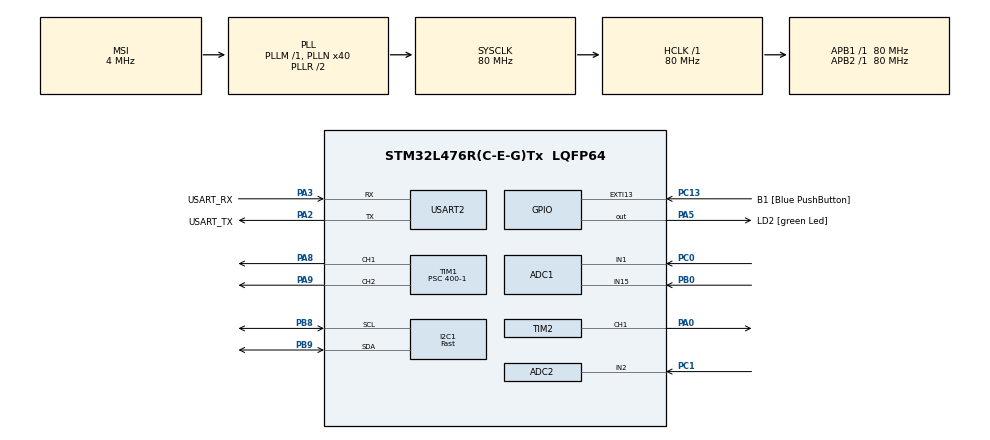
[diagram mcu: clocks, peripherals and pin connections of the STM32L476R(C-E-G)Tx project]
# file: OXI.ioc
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ADC1.Channel-4\#ChannelRegularConversion=ADC_CHANNEL_1
ADC1.Channel-5\#ChannelRegularConversion=ADC_CHANNEL_1
ADC1.Channel-6\#ChannelRegularConversion=ADC_CHANNEL_15
ADC1.ClockPrescaler=ADC_CLOCK_ASYNC_DIV16
ADC1.ContinuousConvMode=ENABLE
ADC1.DMAContinuousRequests=ENABLE
ADC1.EOCSelection=ADC_EOC_SEQ_CONV
ADC1.EnableAnalogWatchDog1=false
ADC1.NbrOfConversion=3
ADC1.NbrOfConversionFlag=1
ADC1.OffsetNumber-4\#ChannelRegularConversion=ADC_OFFSET_NONE
ADC1.OffsetNumber-5\#ChannelRegularConversion=ADC_OFFSET_NONE
ADC1.OffsetNumber-6\#ChannelRegularConversion=ADC_OFFSET_NONE
ADC1.Overrun=ADC_OVR_DATA_PRESERVED
ADC1.Rank-4\#ChannelRegularConversion=1
ADC1.Rank-5\#ChannelRegularConversion=2
ADC1.Rank-6\#ChannelRegularConversion=3
ADC1.SamplingTime-4\#ChannelRegularConversion=ADC_SAMPLETIME_640CYCLES_5
ADC1.SamplingTime-5\#ChannelRegularConversion=ADC_SAMPLETIME_2CYCLES_5
ADC1.SamplingTime-6\#ChannelRegularConversion=ADC_SAMPLETIME_2CYCLES_5
ADC1.master=1
ADC2.Channel-2\#ChannelRegularConversion=ADC_CHANNEL_2
ADC2.Channel-3\#ChannelRegularConversion=ADC_CHANNEL_2
ADC2.Channel-4\#ChannelRegularConversion=ADC_CHANNEL_2
ADC2.ClockPrescaler=ADC_CLOCK_ASYNC_DIV16
ADC2.ContinuousConvMode=ENABLE
ADC2.DMAContinuousRequests=ENABLE
ADC2.EOCSelection=ADC_EOC_SEQ_CONV
ADC2.NbrOfConversion=3
ADC2.NbrOfConversionFlag=1
ADC2.OffsetNumber-2\#ChannelRegularConversion=ADC_OFFSET_NONE
ADC2.OffsetNumber-3\#ChannelRegularConversion=ADC_OFFSET_NONE
ADC2.OffsetNumber-4\#ChannelRegularConversion=ADC_OFFSET_NONE
ADC2.Rank-2\#ChannelRegularConversion=1
ADC2.Rank-3\#ChannelRegularConversion=2
ADC2.Rank-4\#ChannelRegularConversion=3
ADC2.SamplingTime-2\#ChannelRegularConversion=ADC_SAMPLETIME_2CYCLES_5
ADC2.SamplingTime-3\#ChannelRegularConversion=ADC_SAMPLETIME_2CYCLES_5
ADC2.SamplingTime-4\#ChannelRegularConversion=ADC_SAMPLETIME_2CYCLES_5
Dma.ADC1.0.Direction=DMA_PERIPH_TO_MEMORY
Dma.ADC1.0.Instance=DMA1_Channel1
Dma.ADC1.0.MemDataAlignment=DMA_MDATAALIGN_HALFWORD
Dma.ADC1.0.MemInc=DMA_MINC_ENABLE
Dma.ADC1.0.Mode=DMA_CIRCULAR
Dma.ADC1.0.PeriphDataAlignment=DMA_PDATAALIGN_HALFWORD
Dma.ADC1.0.PeriphInc=DMA_PINC_DISABLE
Dma.ADC1.0.Priority=DMA_PRIORITY_LOW
Dma.ADC2.1.Direction=DMA_PERIPH_TO_MEMORY
Dma.ADC2.1.Instance=DMA1_Channel2
Dma.ADC2.1.MemDataAlignment=DMA_MDATAALIGN_HALFWORD
Dma.ADC2.1.MemInc=DMA_MINC_ENABLE
Dma.ADC2.1.Mode=DMA_CIRCULAR
Dma.ADC2.1.PeriphDataAlignment=DMA_PDATAALIGN_HALFWORD
Dma.ADC2.1.PeriphInc=DMA_PINC_DISABLE
Dma.ADC2.1.Priority=DMA_PRIORITY_LOW
Dma.Request0=ADC1
Dma.Request1=ADC2
I2C1.I2C_Speed_Mode=I2C_Fast
I2C1.Timing=0x00702991
Mcu.Family=STM32L4
Mcu.Name=STM32L476R(C-E-G)Tx
Mcu.Package=LQFP64
NVIC.DMA1_Channel1_IRQn=true\:0\:0\:false\:false\:true\:false\:true\:true
NVIC.DMA1_Channel2_IRQn=true\:0\:0\:false\:false\:true\:false\:true\:true
NVIC.PriorityGroup=NVIC_PRIORITYGROUP_4
PA0.Signal=S_TIM2_CH1
PA13\ (JTMS-SWDIO).GPIO_Label=TMS
PA13\ (JTMS-SWDIO).Mode=Serial_Wire
PA13\ (JTMS-SWDIO).Signal=SYS_JTMS-SWDIO
PA14\ (JTCK-SWCLK).GPIO_Label=TCK
PA14\ (JTCK-SWCLK).Mode=Serial_Wire
PA14\ (JTCK-SWCLK).Signal=SYS_JTCK-SWCLK
PA2.GPIO_Label=USART_TX
PA2.GPIO_Mode=GPIO_MODE_AF_PP
PA2.GPIO_PuPd=GPIO_NOPULL
PA2.GPIO_Speed=GPIO_SPEED_FREQ_VERY_HIGH
PA2.Mode=Asynchronous
PA2.Signal=USART2_TX
PA3.GPIO_Label=USART_RX
PA3.GPIO_Mode=GPIO_MODE_AF_PP
PA3.GPIO_PuPd=GPIO_NOPULL
PA3.GPIO_Speed=GPIO_SPEED_FREQ_VERY_HIGH
PA3.Mode=Asynchronous
PA3.Signal=USART2_RX
PA5.GPIO_Label=LD2 [green Led]
PA5.GPIO_ModeDefaultOutputPP=GPIO_MODE_OUTPUT_PP
PA5.GPIO_PuPd=GPIO_NOPULL
PA5.GPIO_Speed=GPIO_SPEED_FREQ_LOW
PA5.Signal=GPIO_Output
PA8.Signal=S_TIM1_CH1
PA9.Signal=S_TIM1_CH2
PB0.Signal=ADCx_IN15
PB3\ (JTDO-TRACESWO).GPIO_Label=SWO
PB3\ (JTDO-TRACESWO).Signal=SYS_JTDO-SWO
PB8.Mode=I2C
PB8.Signal=I2C1_SCL
PB9.Mode=I2C
PB9.Signal=I2C1_SDA
PC0.Signal=ADCx_IN1
PC1.Signal=ADCx_IN2
PC13.GPIO_Label=B1 [Blue PushButton]
PC13.GPIO_ModeDefaultEXTI=GPIO_MODE_IT_FALLING
PC13.GPIO_PuPd=GPIO_NOPULL
PC13.Signal=GPXTI13
PC14-OSC32_IN\ (PC14).Mode=LSE-External-Oscillator
PC14-OSC32_IN\ (PC14).Signal=RCC_OSC32_IN
PC15-OSC32_OUT\ (PC15).Mode=LSE-External-Oscillator
PC15-OSC32_OUT\ (PC15).Signal=RCC_OSC32_OUT
PH0-OSC_IN\ (PH0).Signal=RCC_OSC_IN
PH1-OSC_OUT\ (PH1).Signal=RCC_OSC_OUT
ProjectManager.HeapSize=0x200
ProjectManager.StackSize=0x400
ProjectManager.TargetToolchain=STM32CubeIDE
RCC.ADCCLockSelection=RCC_ADCCLKSOURCE_SYSCLK
RCC.ADCFreq_Value=80000000
RCC.AHBFreq_Value=80000000
RCC.APB1Freq_Value=80000000
RCC.APB1TimFreq_Value=80000000
RCC.APB2Freq_Value=80000000
RCC.APB2TimFreq_Value=80000000
RCC.CortexFreq_Value=80000000
RCC.HCLKFreq_Value=80000000
RCC.HSE_VALUE=8000000
RCC.HSI_VALUE=16000000
RCC.MSI_VALUE=4000000
RCC.PLLN=40
RCC.SYSCLKFreq_VALUE=80000000
RCC.SYSCLKSource=RCC_SYSCLKSOURCE_PLLCLK
RCC.USBFreq_Value=16000000
RCC.VCOOutputFreq_Value=160000000
SH.ADCx_IN1.0=ADC1_IN1,IN1-Single-Ended
SH.ADCx_IN15.0=ADC1_IN15,IN15-Single-Ended
SH.ADCx_IN2.0=ADC2_IN2,IN2-Single-Ended
SH.S_TIM1_CH1.0=TIM1_CH1,PWM Generation1 CH1
SH.S_TIM1_CH2.0=TIM1_CH2,PWM Generation2 CH2
SH.S_TIM2_CH1.0=TIM2_CH1,PWM Generation1 CH1
TIM1.Channel-Output\ Compare3\ No\ Output=TIM_CHANNEL_3
TIM1.Channel-PWM\ Generation1\ CH1=TIM_CHANNEL_1
TIM1.Channel-PWM\ Generation2\ CH2=TIM_CHANNEL_2
TIM1.OCMode_3=TIM_OCMODE_ACTIVE
TIM1.Period=20000-1
TIM1.Prescaler=400-1
TIM1.Pulse-Output\ Compare3\ No\ Output=10000 - 1
TIM1.Pulse-PWM\ Generation1\ CH1=10000 - 1
TIM1.Pulse-PWM\ Generation2\ CH2=4000 - 1
TIM1.TIM_MasterOutputTrigger=TIM_TRGO_OC3REF
TIM2.Channel-PWM\ Generation1\ CH1=TIM_CHANNEL_1
TIM2.Period=20000-1
TIM2.Prescaler=80-1
TIM2.Pulse-PWM\ Generation1\ CH1=30000 - 1
USART2.TxPinLevelInvertParam=ADVFEATURE_TXINV_DISABLE
USART2.VirtualMode-Asynchronous=VM_ASYNC
VP_TIM1_VS_ClockSourceINT.Mode=Internal
VP_TIM1_VS_no_output3.Mode=Output Compare3 No Output
VP_TIM2_VS_ClockSourceINT.Mode=Internal
VP_TIM2_VS_ClockSourceITR.Mode=TriggerSource_ITR0
VP_TIM2_VS_ControllerModeTrigger.Mode=Trigger Mode
board=NUCLEO-L476RG

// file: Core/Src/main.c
/* USER CODE BEGIN Header */
/**
  ******************************************************************************
  * @file           : main.c
  * @brief          : Main program body
  ******************************************************************************
  * @attention
  *
  * <h2><center>&copy; Copyright (c) 2019 STMicroelectronics.
  * All rights reserved.</center></h2>
  *
  * This software component is licensed by ST under BSD 3-Clause license,
  * the "License"; You may not use this file except in compliance with the
  * License. You may obtain a copy of the License at:
  *                        opensource.org/licenses/BSD-3-Clause
  *
  ******************************************************************************
  */
/* USER CODE END Header */
#include "main.h"

/* USER CODE BEGIN Includes */
#include <string.h>
#include <stdio.h>
#include <arm_math.h>
#include "OLED.h"
/* USER CODE END Includes */

/* USER CODE BEGIN PD */
#define adc_buf_red_LEN 4096
#define adc_buf_ir_LEN 4096
#define FFT_BUF_LEN 4096
#define HEART_RATE_HISTORY_LEN 10

float heartRateHistory[HEART_RATE_HISTORY_LEN] = {0.0f}; // 心率历史记录数组
uint8_t heartRateIndex = 0;                             // 当前心率记录索引

/* USER CODE END PD */

ADC_HandleTypeDef hadc1;
ADC_HandleTypeDef hadc2;
DMA_HandleTypeDef hdma_adc1;
DMA_HandleTypeDef hdma_adc2;

I2C_HandleTypeDef hi2c1;

TIM_HandleTypeDef htim1;
TIM_HandleTypeDef htim2;

UART_HandleTypeDef huart2;

/* USER CODE BEGIN PV */
uint16_t adc_buf_red[adc_buf_red_LEN];
uint16_t adc_buf_ir[adc_buf_ir_LEN];

float32_t fft_buf[FFT_BUF_LEN];
float32_t fft_out[FFT_BUF_LEN];

/* USER CODE END PV */

void SystemClock_Config(void);
static void MX_GPIO_Init(void);
static void MX_DMA_Init(void);
static void MX_USART2_UART_Init(void);
static void MX_ADC1_Init(void);
static void MX_ADC2_Init(void);
static void MX_TIM1_Init(void);
static void MX_TIM2_Init(void);
static void MX_I2C1_Init(void);
/* USER CODE BEGIN PFP */
arm_rfft_fast_instance_f32 handler;

/* USER CODE END PFP */

/* USER CODE BEGIN 0 */
int flag = 0;

float32_t fft_buf_red[FFT_BUF_LEN];  // 红光信号 FFT 输入缓冲�???????
float32_t fft_buf_ir[FFT_BUF_LEN];   // 红外信号 FFT 输入缓冲�???????
float32_t fft_out_red[FFT_BUF_LEN];  // 红光信号 FFT 输出缓冲�???????
float32_t fft_out_ir[FFT_BUF_LEN];   // 红外信号 FFT 输出缓冲�???????

#define SAMPLING_RATE 400 // 采样率，和ADC�???????�???????

void calculateDCandAC(const uint16_t *waveform, size_t size, float *dcValue, float *acValue) {
    int32_t sum = 0;
    uint64_t squaredSum = 0;

    // Accumulate sum and squared sum for calculations
    for (size_t i = 0; i < size; i++) {
        sum += waveform[i];
        squaredSum += (uint64_t)waveform[i] * waveform[i];
    }

    // Calculate DC value (mean)
    *dcValue = (float)sum / size;

    // Calculate AC value (RMS - DC component)
    float rms = sqrt((float)squaredSum / size);
    *acValue = sqrt(rms * rms - (*dcValue) * (*dcValue));
}

void processADCData(void)
        {
            for (int i = 0; i < adc_buf_red_LEN; i++)
            {

                fft_buf_red[i] = (float32_t)adc_buf_red[i];                      // 红光信号
                fft_buf_ir[i] = (float32_t)adc_buf_ir[i];    // 红外信号
            }
        }

/*        void extractACDC(float32_t *fft_buf, float32_t *fft_out, float *AC, float *DC)
                {
                    // FFT 转换
                    arm_rfft_fast_f32(&handler, fft_buf, fft_out, 0);

                    // 提取直流分量
                    *DC = fft_buf[0];

                    // 提取�????????大交流分�????????
                    *AC = 0.0f;
                    for (int i = 2; i < FFT_BUF_LEN; i += 2)
                    {
                        float amplitude = sqrtf((fft_out[i] * fft_out[i]) + (fft_out[i + 1] * fft_out[i + 1]));
                        if (amplitude > *AC)
                        {
                            *AC = amplitude;
                        }
                    }
                }*/

float calculateSpO2(void)
{
    float redAC = 0.0f, redDC = 0.0f;
    float irAC = 0.0f, irDC = 0.0f;

    // 提取红光和红外信号的直流和交流分量
    calculateDCandAC(adc_buf_red, adc_buf_red_LEN, &redDC, &redAC);
    calculateDCandAC(adc_buf_ir, adc_buf_ir_LEN, &irDC, &irAC);

    // 计算R值并推导SpO2
    if (redDC > 0 && irDC > 0) // 避免分母为零
    {
        float R = (redAC / redDC) / (irAC / irDC);
        float spo2 = 110.0f - 25.0f * R; // SpO2公式

        // 对血氧值进行范围限制
        if (spo2 > 100.0f) spo2 = 100.0f;
        if (spo2 < 70.0f) spo2 = 70.0f;

        return spo2;
    }
    return 0.0f; // 如果数据无效，返回0
}

float calculateHeartRate(void)
{
    // Perform FFT transformation on the red signal
    arm_rfft_fast_f32(&handler, fft_buf_red, fft_out_red, 0);

    // Find the peak frequency in the valid heart rate range
    float maxAmplitude = 0.0f;
    uint16_t maxIndex = 0;

    // FFT resolution
    float frequencyResolution = (float)SAMPLING_RATE / FFT_BUF_LEN;

    // Search for the peak in the heart rate frequency range
    for (uint16_t i = 1; i < FFT_BUF_LEN / 2; i++) // Only consider positive frequencies
    {
        float amplitude = sqrtf(fft_out_red[i * 2] * fft_out_red[i * 2] +
                                fft_out_red[i * 2 + 1] * fft_out_red[i * 2 + 1]);

        // Check if the frequency is in the heart rate range (0.8 Hz to 3 Hz)
        float currentFrequency = i * frequencyResolution;
        if (currentFrequency >= 0.8f && currentFrequency <= 3.0f)
        {
            if (amplitude > maxAmplitude)
            {
                maxAmplitude = amplitude;
                maxIndex = i;
            }
        }
    }

    // Convert the peak frequency to heart rate in BPM
    float peakFrequency = maxIndex * frequencyResolution;
    peakFrequency=sqrt(sqrt((peakFrequency * 60.0f)*85)*85);
    return peakFrequency; // Heart rate in BPM
}

        void HeartRateAnimationWithDisplay(uint16_t heartRate) {
            uint16_t interval = 60000 / heartRate; // 心率跳动间隔 (ms)
            uint8_t animationHeight = 8;          // 动画的最大高�???
            uint8_t frameWidth = 16;              // 动画矩形的宽�???
            uint8_t xStart = 0;                   // 动画的起始x位置
            uint8_t yStart = 3;                   // 动画的起始行位置

            // 动画上升部分
            for (uint8_t frame = 0; frame <= animationHeight; frame++) {
                // 清除当前行区
                OLED_ShowString(yStart, xStart, "                "); // 清除�??????�??????

                // 动画显示填充矩形（以文本方式模拟�???
                char anim[frameWidth + 1];
                memset(anim, '■', frame); // �?????? '#' 表示填充部分
                memset(anim + frame, ' ', frameWidth - frame); // 用空格填充剩余部�??????
                anim[frameWidth] = '\0'; // 确保字符串以 '\0' 结尾

                OLED_ShowString(yStart, xStart, anim); // 显示模拟动画

                // 显示心率�??????
                OLED_ShowString(2, 0, "HR:");
                OLED_ShowNum(2, 3, heartRate, 3);
                OLED_ShowString(2, 7, "bpm");

                HAL_Delay(interval / (2 * animationHeight));
            }

            // 动画下降部分
            for (int8_t frame = animationHeight; frame >= 0; frame--) {
                // 清除当前行区�??????
                OLED_ShowString(yStart, xStart, "                "); // 清除�??????�??????

                // 动�?�显示填充矩形（以文本方式模拟）
                char anim[frameWidth + 1];
                memset(anim, '💓', frame); // �?????? '#' 表示填充部分
                memset(anim + frame, ' ', frameWidth - frame); // 用空格填充剩余部�??????
                anim[frameWidth] = '\0'; // 确保字符串以 '\0' 结尾

                OLED_ShowString(yStart, xStart, anim); // 显示模拟动画

                // 显示心率�??????
                OLED_ShowString(2, 0, "HR:");
                OLED_ShowNum(2, 3, heartRate, 3);
                OLED_ShowString(2, 7, "bpm");

                HAL_Delay(interval / (2 * animationHeight));
            }
        }

/* USER CODE END 0 */

int main(void)
{
  /* USER CODE BEGIN 1 */

	uint32_t adc = 0;

	uint8_t spo2_arr[4];

  /* USER CODE END 1 */

  /* MCU Configuration--------------------------------------------------------*/

  /* Reset of all peripherals, Initializes the Flash interface and the Systick. */
  HAL_Init();

  /* USER CODE BEGIN Init */
	HAL_Init();
  /* USER CODE END Init */

  /* Configure the system clock */
  SystemClock_Config();

  /* Initialize all configured peripherals */
  MX_GPIO_Init();
  MX_DMA_Init();
  MX_USART2_UART_Init();
  MX_ADC1_Init();
  MX_ADC2_Init();
  MX_TIM1_Init();
  MX_TIM2_Init();
  MX_I2C1_Init();
  /* USER CODE BEGIN 2 */
  	HAL_TIM_PWM_Start(&htim1, TIM_CHANNEL_1);
  	HAL_TIM_PWM_Start(&htim1, TIM_CHANNEL_2);
    HAL_TIM_PWM_Start(&htim2, TIM_CHANNEL_1);
  	HAL_ADC_Start_DMA(&hadc1, (uint32_t*)adc_buf_red, adc_buf_red_LEN);
  	HAL_ADC_Start_DMA(&hadc2, (uint32_t*)adc_buf_ir, adc_buf_ir_LEN);

  	arm_rfft_fast_init_f32(&handler, FFT_BUF_LEN);

  /* USER CODE END 2 */

  /* Infinite loop */
  /* USER CODE BEGIN WHILE */
    HAL_Init();
        SystemClock_Config();
        MX_GPIO_Init();
        MX_I2C1_Init();

        // 初始化OLED
        OLED_Init(&hi2c1);

        uint16_t spo2_index = 0;
        uint16_t spo2_ave = 0;

        while (1)
        {
            if (flag) // 数据采集标志位
            {
                flag = 0; // 重置标志位

                // 预处理 ADC 数据
                processADCData();

                // 计算血氧饱和度
                float spo2 = calculateSpO2();
                if (spo2 > 80)
                {
                    spo2_arr[spo2_index] = spo2 + 2;
                    spo2_index++;
                }
                else if (spo2 > 60)
                {
                    spo2 = sqrt((spo2 + 20) * 100);
                    spo2_arr[spo2_index] = spo2;
                    spo2_index++;
                }
                else if (spo2 > 40)
                {
                    spo2 = sqrt(sqrt(sqrt(spo2 * 100) * 100) * 100);
                    spo2_arr[spo2_index] = spo2;
                    spo2_index++;
                }
                else if (spo2 > 1)
                {
                    spo2 = sqrt(sqrt(sqrt(sqrt(sqrt(spo2 * 100) * 100) * 100) * 100) * 100);
                    spo2_arr[spo2_index] = spo2;
                    spo2_index++;
                }

                if (spo2_index >= 4)
                {
                    spo2_index = 0;
                    float spo2_sum = 0.0f;

                    for (int i = 0; i < 4; i++)
                    {
                        spo2_sum += spo2_arr[i];
                    }
                    float spo2_ave = sqrt((spo2_sum / 4.0f) * 100.0); // 平均血氧值

                    if (spo2_ave < 1)
                    {
                        OLED_ShowString(1, 0, "SpO2:");
                        OLED_ShowNum(1, 6, "?", 3); // 显示未知
                        OLED_ShowString(1, 9, "%");
                    }
                    else if (spo2_ave > 100)
                    {
                        OLED_ShowString(1, 0, "SpO2:");
                        OLED_ShowNum(1, 6, "100", 3); // 显示最大值
                        OLED_ShowString(1, 9, "%");
                    }
                    else
                    {
                        OLED_ShowString(1, 0, "SpO2:");
                        OLED_ShowNum(1, 6, (uint16_t)spo2_ave, 3); // 显示血氧值
                        OLED_ShowString(1, 9, "%");
                    }
                }

                // 计算心率
                float heartRate = calculateHeartRate();
                if (heartRate >= 48.0f && heartRate <= 180.0f) // 合理心率范围
                {
                    HeartRateAnimationWithDisplay((uint16_t)heartRate);

                    // 更新心率历史记录
                    heartRateHistory[heartRateIndex] = heartRate;
                    heartRateIndex = (heartRateIndex + 1) % HEART_RATE_HISTORY_LEN;

                    // 计算平均心率
                    float heartRateSum = 0.0f;
                    for (int i = 0; i < HEART_RATE_HISTORY_LEN; i++)
                    {
                        heartRateSum += heartRateHistory[i];
                    }
                    float averageHeartRate = heartRateSum / HEART_RATE_HISTORY_LEN;

                    // 在 OLED 第四行显示平均心率
                    OLED_ShowString(4, 0, "Avg HR:");
                    OLED_ShowNum(4, 8, (uint16_t)averageHeartRate, 3);
                }
                else
                {
                    OLED_ShowString(2, 0, "HR: --"); // 显示心率无效状态
                }
            }

            HAL_Delay(10); // 稳定数据采集
        }

                //if (spo2 > 100) spo2 = 100;
                //if (spo2 < 1) spo2 = 98;

                // 显示�??????�??????

                /*if (heartRate > 200) heartRate = 200;
                if (heartRate < 40) heartRate = 75;*/

                // 显示心率并播放动�??????
                //HeartRateAnimationWithDisplay(heartRate);

    /* USER CODE END WHILE */

}

void SystemClock_Config(void)
{
  RCC_OscInitTypeDef RCC_OscInitStruct = {0};
  RCC_ClkInitTypeDef RCC_ClkInitStruct = {0};

  /** Configure the main internal regulator output voltage
  */
  if (HAL_PWREx_ControlVoltageScaling(PWR_REGULATOR_VOLTAGE_SCALE1) != HAL_OK)
  {
    Error_Handler();
  }

  /** Configure LSE Drive Capability
  */
  HAL_PWR_EnableBkUpAccess();
  __HAL_RCC_LSEDRIVE_CONFIG(RCC_LSEDRIVE_LOW);

  /** Initializes the RCC Oscillators according to the specified parameters
  * in the RCC_OscInitTypeDef structure.
  */
  RCC_OscInitStruct.OscillatorType = RCC_OSCILLATORTYPE_LSE|RCC_OSCILLATORTYPE_MSI;
  RCC_OscInitStruct.LSEState = RCC_LSE_ON;
  RCC_OscInitStruct.MSIState = RCC_MSI_ON;
  RCC_OscInitStruct.MSICalibrationValue = 0;
  RCC_OscInitStruct.MSIClockRange = RCC_MSIRANGE_6;
  RCC_OscInitStruct.PLL.PLLState = RCC_PLL_ON;
  RCC_OscInitStruct.PLL.PLLSource = RCC_PLLSOURCE_MSI;
  RCC_OscInitStruct.PLL.PLLM = 1;
  RCC_OscInitStruct.PLL.PLLN = 40;
  RCC_OscInitStruct.PLL.PLLP = RCC_PLLP_DIV7;
  RCC_OscInitStruct.PLL.PLLQ = RCC_PLLQ_DIV2;
  RCC_OscInitStruct.PLL.PLLR = RCC_PLLR_DIV2;
  if (HAL_RCC_OscConfig(&RCC_OscInitStruct) != HAL_OK)
  {
    Error_Handler();
  }

  /** Initializes the CPU, AHB and APB buses clocks
  */
  RCC_ClkInitStruct.ClockType = RCC_CLOCKTYPE_HCLK|RCC_CLOCKTYPE_SYSCLK
                              |RCC_CLOCKTYPE_PCLK1|RCC_CLOCKTYPE_PCLK2;
  RCC_ClkInitStruct.SYSCLKSource = RCC_SYSCLKSOURCE_PLLCLK;
  RCC_ClkInitStruct.AHBCLKDivider = RCC_SYSCLK_DIV1;
  RCC_ClkInitStruct.APB1CLKDivider = RCC_HCLK_DIV1;
  RCC_ClkInitStruct.APB2CLKDivider = RCC_HCLK_DIV1;

  if (HAL_RCC_ClockConfig(&RCC_ClkInitStruct, FLASH_LATENCY_4) != HAL_OK)
  {
    Error_Handler();
  }

  /** Enable MSI Auto calibration
  */
  HAL_RCCEx_EnableMSIPLLMode();
}

static void MX_ADC1_Init(void)
{

  ADC_MultiModeTypeDef multimode = {0};
  ADC_ChannelConfTypeDef sConfig = {0};

  /** Common config
  */
  hadc1.Instance = ADC1;
  hadc1.Init.ClockPrescaler = ADC_CLOCK_ASYNC_DIV16;
  hadc1.Init.Resolution = ADC_RESOLUTION_12B;
  hadc1.Init.DataAlign = ADC_DATAALIGN_RIGHT;
  hadc1.Init.ScanConvMode = ADC_SCAN_ENABLE;
  hadc1.Init.EOCSelection = ADC_EOC_SEQ_CONV;
  hadc1.Init.LowPowerAutoWait = DISABLE;
  hadc1.Init.ContinuousConvMode = ENABLE;
  hadc1.Init.NbrOfConversion = 3;
  hadc1.Init.DiscontinuousConvMode = DISABLE;
  hadc1.Init.ExternalTrigConv = ADC_SOFTWARE_START;
  hadc1.Init.ExternalTrigConvEdge = ADC_EXTERNALTRIGCONVEDGE_NONE;
  hadc1.Init.DMAContinuousRequests = ENABLE;
  hadc1.Init.Overrun = ADC_OVR_DATA_PRESERVED;
  hadc1.Init.OversamplingMode = DISABLE;
  if (HAL_ADC_Init(&hadc1) != HAL_OK)
  {
    Error_Handler();
  }

  /** Configure the ADC multi-mode
  */
  multimode.Mode = ADC_MODE_INDEPENDENT;
  if (HAL_ADCEx_MultiModeConfigChannel(&hadc1, &multimode) != HAL_OK)
  {
    Error_Handler();
  }

  /** Configure Regular Channel
  */
  sConfig.Channel = ADC_CHANNEL_1;
  sConfig.Rank = ADC_REGULAR_RANK_1;
  sConfig.SamplingTime = ADC_SAMPLETIME_640CYCLES_5;
  sConfig.SingleDiff = ADC_SINGLE_ENDED;
  sConfig.OffsetNumber = ADC_OFFSET_NONE;
  sConfig.Offset = 0;
  if (HAL_ADC_ConfigChannel(&hadc1, &sConfig) != HAL_OK)
  {
    Error_Handler();
  }

  /** Configure Regular Channel
  */
  sConfig.Rank = ADC_REGULAR_RANK_2;
  sConfig.SamplingTime = ADC_SAMPLETIME_2CYCLES_5;
  if (HAL_ADC_ConfigChannel(&hadc1, &sConfig) != HAL_OK)
  {
    Error_Handler();
  }

  /** Configure Regular Channel
  */
  sConfig.Channel = ADC_CHANNEL_15;
  sConfig.Rank = ADC_REGULAR_RANK_3;
  if (HAL_ADC_ConfigChannel(&hadc1, &sConfig) != HAL_OK)
  {
    Error_Handler();
  }

}

static void MX_ADC2_Init(void)
{

  ADC_ChannelConfTypeDef sConfig = {0};

  /** Common config
  */
  hadc2.Instance = ADC2;
  hadc2.Init.ClockPrescaler = ADC_CLOCK_ASYNC_DIV16;
  hadc2.Init.Resolution = ADC_RESOLUTION_12B;
  hadc2.Init.DataAlign = ADC_DATAALIGN_RIGHT;
  hadc2.Init.ScanConvMode = ADC_SCAN_ENABLE;
  hadc2.Init.EOCSelection = ADC_EOC_SEQ_CONV;
  hadc2.Init.LowPowerAutoWait = DISABLE;
  hadc2.Init.ContinuousConvMode = ENABLE;
  hadc2.Init.NbrOfConversion = 3;
  hadc2.Init.DiscontinuousConvMode = DISABLE;
  hadc2.Init.ExternalTrigConv = ADC_SOFTWARE_START;
  hadc2.Init.ExternalTrigConvEdge = ADC_EXTERNALTRIGCONVEDGE_NONE;
  hadc2.Init.DMAContinuousRequests = ENABLE;
  hadc2.Init.Overrun = ADC_OVR_DATA_PRESERVED;
  hadc2.Init.OversamplingMode = DISABLE;
  if (HAL_ADC_Init(&hadc2) != HAL_OK)
  {
    Error_Handler();
  }

  /** Configure Regular Channel
  */
  sConfig.Channel = ADC_CHANNEL_2;
  sConfig.Rank = ADC_REGULAR_RANK_1;
  sConfig.SamplingTime = ADC_SAMPLETIME_2CYCLES_5;
  sConfig.SingleDiff = ADC_SINGLE_ENDED;
  sConfig.OffsetNumber = ADC_OFFSET_NONE;
  sConfig.Offset = 0;
  if (HAL_ADC_ConfigChannel(&hadc2, &sConfig) != HAL_OK)
  {
    Error_Handler();
  }

  /** Configure Regular Channel
  */
  sConfig.Rank = ADC_REGULAR_RANK_2;
  if (HAL_ADC_ConfigChannel(&hadc2, &sConfig) != HAL_OK)
  {
    Error_Handler();
  }

  /** Configure Regular Channel
  */
  sConfig.Rank = ADC_REGULAR_RANK_3;
  if (HAL_ADC_ConfigChannel(&hadc2, &sConfig) != HAL_OK)
  {
    Error_Handler();
  }

}

static void MX_I2C1_Init(void)
{

  hi2c1.Instance = I2C1;
  hi2c1.Init.Timing = 0x00702991;
  hi2c1.Init.OwnAddress1 = 0;
  hi2c1.Init.AddressingMode = I2C_ADDRESSINGMODE_7BIT;
  hi2c1.Init.DualAddressMode = I2C_DUALADDRESS_DISABLE;
  hi2c1.Init.OwnAddress2 = 0;
  hi2c1.Init.OwnAddress2Masks = I2C_OA2_NOMASK;
  hi2c1.Init.GeneralCallMode = I2C_GENERALCALL_DISABLE;
  hi2c1.Init.NoStretchMode = I2C_NOSTRETCH_DISABLE;
  if (HAL_I2C_Init(&hi2c1) != HAL_OK)
  {
    Error_Handler();
  }

  /** Configure Analogue filter
  */
  if (HAL_I2CEx_ConfigAnalogFilter(&hi2c1, I2C_ANALOGFILTER_ENABLE) != HAL_OK)
  {
    Error_Handler();
  }

  /** Configure Digital filter
  */
  if (HAL_I2CEx_ConfigDigitalFilter(&hi2c1, 0) != HAL_OK)
  {
    Error_Handler();
  }

}

static void MX_TIM1_Init(void)
{

  TIM_ClockConfigTypeDef sClockSourceConfig = {0};
  TIM_MasterConfigTypeDef sMasterConfig = {0};
  TIM_OC_InitTypeDef sConfigOC = {0};
  TIM_BreakDeadTimeConfigTypeDef sBreakDeadTimeConfig = {0};

  htim1.Instance = TIM1;
  htim1.Init.Prescaler = 400-1;
  htim1.Init.CounterMode = TIM_COUNTERMODE_UP;
  htim1.Init.Period = 20000-1;
  htim1.Init.ClockDivision = TIM_CLOCKDIVISION_DIV1;
  htim1.Init.RepetitionCounter = 0;
  htim1.Init.AutoReloadPreload = TIM_AUTORELOAD_PRELOAD_DISABLE;
  if (HAL_TIM_Base_Init(&htim1) != HAL_OK)
  {
    Error_Handler();
  }
  sClockSourceConfig.ClockSource = TIM_CLOCKSOURCE_INTERNAL;
  if (HAL_TIM_ConfigClockSource(&htim1, &sClockSourceConfig) != HAL_OK)
  {
    Error_Handler();
  }
  if (HAL_TIM_PWM_Init(&htim1) != HAL_OK)
  {
    Error_Handler();
  }
  if (HAL_TIM_OC_Init(&htim1) != HAL_OK)
  {
    Error_Handler();
  }
  sMasterConfig.MasterOutputTrigger = TIM_TRGO_OC3REF;
  sMasterConfig.MasterOutputTrigger2 = TIM_TRGO2_RESET;
  sMasterConfig.MasterSlaveMode = TIM_MASTERSLAVEMODE_DISABLE;
  if (HAL_TIMEx_MasterConfigSynchronization(&htim1, &sMasterConfig) != HAL_OK)
  {
    Error_Handler();
  }
  sConfigOC.OCMode = TIM_OCMODE_PWM1;
  sConfigOC.Pulse = 10000 - 1;
  sConfigOC.OCPolarity = TIM_OCPOLARITY_HIGH;
  sConfigOC.OCNPolarity = TIM_OCNPOLARITY_HIGH;
  sConfigOC.OCFastMode = TIM_OCFAST_DISABLE;
  sConfigOC.OCIdleState = TIM_OCIDLESTATE_RESET;
  sConfigOC.OCNIdleState = TIM_OCNIDLESTATE_RESET;
  if (HAL_TIM_PWM_ConfigChannel(&htim1, &sConfigOC, TIM_CHANNEL_1) != HAL_OK)
  {
    Error_Handler();
  }
  sConfigOC.Pulse = 4000 - 1;
  if (HAL_TIM_PWM_ConfigChannel(&htim1, &sConfigOC, TIM_CHANNEL_2) != HAL_OK)
  {
    Error_Handler();
  }
  sConfigOC.OCMode = TIM_OCMODE_ACTIVE;
  sConfigOC.Pulse = 10000 - 1;
  if (HAL_TIM_OC_ConfigChannel(&htim1, &sConfigOC, TIM_CHANNEL_3) != HAL_OK)
  {
    Error_Handler();
  }
  sBreakDeadTimeConfig.OffStateRunMode = TIM_OSSR_DISABLE;
  sBreakDeadTimeConfig.OffStateIDLEMode = TIM_OSSI_DISABLE;
  sBreakDeadTimeConfig.LockLevel = TIM_LOCKLEVEL_OFF;
  sBreakDeadTimeConfig.DeadTime = 0;
  sBreakDeadTimeConfig.BreakState = TIM_BREAK_DISABLE;
  sBreakDeadTimeConfig.BreakPolarity = TIM_BREAKPOLARITY_HIGH;
  sBreakDeadTimeConfig.BreakFilter = 0;
  sBreakDeadTimeConfig.Break2State = TIM_BREAK2_DISABLE;
  sBreakDeadTimeConfig.Break2Polarity = TIM_BREAK2POLARITY_HIGH;
  sBreakDeadTimeConfig.Break2Filter = 0;
  sBreakDeadTimeConfig.AutomaticOutput = TIM_AUTOMATICOUTPUT_DISABLE;
  if (HAL_TIMEx_ConfigBreakDeadTime(&htim1, &sBreakDeadTimeConfig) != HAL_OK)
  {
    Error_Handler();
  }
  HAL_TIM_MspPostInit(&htim1);

}

static void MX_TIM2_Init(void)
{

  TIM_ClockConfigTypeDef sClockSourceConfig = {0};
  TIM_SlaveConfigTypeDef sSlaveConfig = {0};
  TIM_MasterConfigTypeDef sMasterConfig = {0};
  TIM_OC_InitTypeDef sConfigOC = {0};

  htim2.Instance = TIM2;
  htim2.Init.Prescaler = 80-1;
  htim2.Init.CounterMode = TIM_COUNTERMODE_UP;
  htim2.Init.Period = 20000-1;
  htim2.Init.ClockDivision = TIM_CLOCKDIVISION_DIV1;
  htim2.Init.AutoReloadPreload = TIM_AUTORELOAD_PRELOAD_DISABLE;
  if (HAL_TIM_Base_Init(&htim2) != HAL_OK)
  {
    Error_Handler();
  }
  sClockSourceConfig.ClockSource = TIM_CLOCKSOURCE_INTERNAL;
  if (HAL_TIM_ConfigClockSource(&htim2, &sClockSourceConfig) != HAL_OK)
  {
    Error_Handler();
  }
  if (HAL_TIM_PWM_Init(&htim2) != HAL_OK)
  {
    Error_Handler();
  }
  sSlaveConfig.SlaveMode = TIM_SLAVEMODE_TRIGGER;
  sSlaveConfig.InputTrigger = TIM_TS_ITR0;
  if (HAL_TIM_SlaveConfigSynchro(&htim2, &sSlaveConfig) != HAL_OK)
  {
    Error_Handler();
  }
  sMasterConfig.MasterOutputTrigger = TIM_TRGO_RESET;
  sMasterConfig.MasterSlaveMode = TIM_MASTERSLAVEMODE_DISABLE;
  if (HAL_TIMEx_MasterConfigSynchronization(&htim2, &sMasterConfig) != HAL_OK)
  {
    Error_Handler();
  }
  sConfigOC.OCMode = TIM_OCMODE_PWM1;
  sConfigOC.Pulse = 30000 - 1;
  sConfigOC.OCPolarity = TIM_OCPOLARITY_HIGH;
  sConfigOC.OCFastMode = TIM_OCFAST_DISABLE;
  if (HAL_TIM_PWM_ConfigChannel(&htim2, &sConfigOC, TIM_CHANNEL_1) != HAL_OK)
  {
    Error_Handler();
  }
  HAL_TIM_MspPostInit(&htim2);

}

static void MX_USART2_UART_Init(void)
{

  huart2.Instance = USART2;
  huart2.Init.BaudRate = 115200;
  huart2.Init.WordLength = UART_WORDLENGTH_8B;
  huart2.Init.StopBits = UART_STOPBITS_1;
  huart2.Init.Parity = UART_PARITY_NONE;
  huart2.Init.Mode = UART_MODE_TX_RX;
  huart2.Init.HwFlowCtl = UART_HWCONTROL_NONE;
  huart2.Init.OverSampling = UART_OVERSAMPLING_16;
  huart2.Init.OneBitSampling = UART_ONE_BIT_SAMPLE_DISABLE;
  huart2.AdvancedInit.AdvFeatureInit = UART_ADVFEATURE_NO_INIT;
  if (HAL_UART_Init(&huart2) != HAL_OK)
  {
    Error_Handler();
  }

}

static void MX_DMA_Init(void)
{

  /* DMA controller clock enable */
  __HAL_RCC_DMA1_CLK_ENABLE();

  /* DMA interrupt init */
  /* DMA1_Channel1_IRQn interrupt configuration */
  HAL_NVIC_SetPriority(DMA1_Channel1_IRQn, 0, 0);
  HAL_NVIC_EnableIRQ(DMA1_Channel1_IRQn);
  /* DMA1_Channel2_IRQn interrupt configuration */
  HAL_NVIC_SetPriority(DMA1_Channel2_IRQn, 0, 0);
  HAL_NVIC_EnableIRQ(DMA1_Channel2_IRQn);

}

static void MX_GPIO_Init(void)
{
  GPIO_InitTypeDef GPIO_InitStruct = {0};

  /* GPIO Ports Clock Enable */
  __HAL_RCC_GPIOC_CLK_ENABLE();
  __HAL_RCC_GPIOH_CLK_ENABLE();
  __HAL_RCC_GPIOA_CLK_ENABLE();
  __HAL_RCC_GPIOB_CLK_ENABLE();

  /*Configure GPIO pin Output Level */
  HAL_GPIO_WritePin(LD2_GPIO_Port, LD2_Pin, GPIO_PIN_RESET);

  /*Configure GPIO pin : B1_Pin */
  GPIO_InitStruct.Pin = B1_Pin;
  GPIO_InitStruct.Mode = GPIO_MODE_IT_FALLING;
  GPIO_InitStruct.Pull = GPIO_NOPULL;
  HAL_GPIO_Init(B1_GPIO_Port, &GPIO_InitStruct);

  /*Configure GPIO pin : LD2_Pin */
  GPIO_InitStruct.Pin = LD2_Pin;
  GPIO_InitStruct.Mode = GPIO_MODE_OUTPUT_PP;
  GPIO_InitStruct.Pull = GPIO_NOPULL;
  GPIO_InitStruct.Speed = GPIO_SPEED_FREQ_LOW;
  HAL_GPIO_Init(LD2_GPIO_Port, &GPIO_InitStruct);

}

/* USER CODE BEGIN 4 */

// Called when first half of buffer is filled
void HAL_ADC_ConvHalfCpltCallback(ADC_HandleTypeDef* hadc) {
  HAL_GPIO_WritePin(LD2_GPIO_Port, LD2_Pin, GPIO_PIN_SET);

}

// Called when buffer is completely filled
void HAL_ADC_ConvCpltCallback(ADC_HandleTypeDef* hadc) {

	//for(int i; i<adc_buf_red_LEN;++i){
		//fft_buf[i] =  (float) adc_buf_red[i];
	//}

	flag = 1;

  HAL_GPIO_WritePin(LD2_GPIO_Port, LD2_Pin, GPIO_PIN_RESET);
}

/* USER CODE END 4 */

void Error_Handler(void)
{
  __disable_irq();
  while (1)
  {
  }
}
